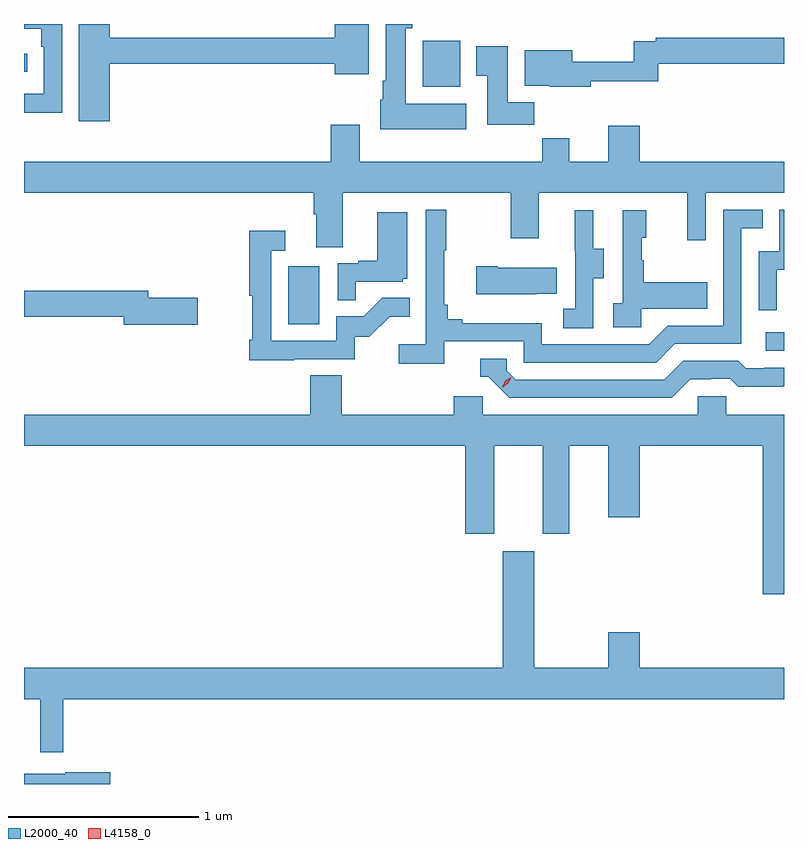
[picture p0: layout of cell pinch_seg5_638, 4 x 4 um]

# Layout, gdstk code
import gdstk
lib = gdstk.Library(unit=1e-6, precision=1e-09)
def R(c, l, rs):  # rectangles x0, y0, x1, y1
    for r in rs: c.add(gdstk.rectangle(r[:2], r[2:], *l))
def P(c, l, *ps):  # polygons
    for p in ps: c.add(gdstk.Polygon(p, *l))
L2000_40 = (2000, 40)
L4158_0 = (4158, 0)

pinch_seg5_638 = lib.new_cell('pinch_seg5_638')
R(pinch_seg5_638, L2000_40, [(1040.961,861.258,1041.056,861.354), (1038.446,861.396,1038.61,861.703), (1039.154,862.646,1039.351,862.888), (1037.056,862.725,1037.074,862.821)])
P(pinch_seg5_638, L2000_40, [(1037.256,862.977),(1037.056,862.977),(1037.056,862.952),(1037.147,862.952),(1037.147,862.856),(1037.16,862.856),(1037.16,862.611),(1037.056,862.611),(1037.056,862.51),(1037.256,862.51)],
  [(1039.384,862.558),(1039.066,862.558),(1039.066,862.955),(1039.099,862.955),(1039.099,862.977),(1038.959,862.977),(1038.959,862.678),(1038.944,862.678),(1038.944,862.578),(1038.932,862.578),(1038.932,862.424),(1039.384,862.424)],
  [(1037.506,862.768),(1038.692,862.768),(1038.692,862.712),(1038.871,862.712),(1038.871,862.977),(1038.692,862.977),(1038.692,862.904),(1037.506,862.904),(1037.506,862.977),(1037.345,862.977),(1037.345,862.464),(1037.506,862.464)],
  [(1040.038,862.675),(1040.393,862.675),(1040.393,862.768),(1041.056,862.768),(1041.056,862.904),(1040.38,862.904),(1040.38,862.885),(1040.265,862.885),(1040.265,862.778),(1039.942,862.778),(1039.942,862.84),(1039.691,862.84),(1039.691,862.652),(1039.824,862.652),(1039.824,862.646),(1040.038,862.646)],
  [(1039.742,862.564),(1039.603,862.564),(1039.603,862.861),(1039.436,862.861),(1039.436,862.705),(1039.493,862.705),(1039.493,862.446),(1039.742,862.446)],
  [(1038.733,862.088),(1039.618,862.088),(1039.618,861.849),(1039.765,861.849),(1039.765,862.088),(1040.546,862.088),(1040.546,861.84),(1040.643,861.84),(1040.643,862.088),(1041.056,862.088),(1041.056,862.252),(1040.296,862.252),(1040.296,862.441),(1040.132,862.441),(1040.132,862.252),(1039.927,862.252),(1039.927,862.376),(1039.783,862.376),(1039.783,862.252),(1038.823,862.252),(1038.823,862.447),(1038.671,862.447),(1038.671,862.252),(1037.056,862.252),(1037.056,862.088),(1038.581,862.088),(1038.581,861.976),(1038.593,861.976),(1038.593,861.802),(1038.733,861.802)],
  [(1039.268,861.306),(1039.686,861.306),(1039.686,861.195),(1040.383,861.195),(1040.482,861.294),(1040.832,861.294),(1040.832,861.903),(1040.945,861.903),(1040.945,861.999),(1040.736,861.999),(1040.736,861.39),(1040.445,861.39),(1040.346,861.291),(1039.782,861.291),(1039.782,861.403),(1039.363,861.403),(1039.363,861.422),(1039.286,861.422),(1039.286,861.499),(1039.267,861.499),(1039.267,861.787),(1039.279,861.787),(1039.279,862),(1039.17,862),(1039.17,861.292),(1039.029,861.292),(1039.029,861.19),(1039.268,861.19)],
  [(1041.018,861.683),(1041.056,861.683),(1041.056,861.999),(1041.03,861.999),(1041.03,861.78),(1040.922,861.78),(1040.922,861.471),(1041.018,861.471)],
  [(1040.304,861.479),(1040.651,861.479),(1040.651,861.619),(1040.317,861.619),(1040.317,861.734),(1040.307,861.734),(1040.307,861.852),(1040.332,861.852),(1040.332,861.997),(1040.208,861.997),(1040.208,861.506),(1040.157,861.506),(1040.157,861.381),(1040.304,861.381)],
  [(1040.052,861.64),(1040.107,861.64),(1040.107,861.795),(1040.053,861.795),(1040.053,861.997),(1039.955,861.997),(1039.955,861.783),(1039.956,861.783),(1039.956,861.479),(1039.893,861.479),(1039.893,861.376),(1040.052,861.376)],
  [(1038.803,861.621),(1039.05,861.621),(1039.05,861.636),(1039.072,861.636),(1039.072,861.985),(1038.914,861.985),(1038.914,861.73),(1038.815,861.73),(1038.815,861.717),(1038.708,861.717),(1038.708,861.523),(1038.803,861.523)],
  [(1038.479,861.213),(1038.798,861.213),(1038.798,861.33),(1038.874,861.33),(1038.981,861.437),(1039.085,861.437),(1039.085,861.536),(1038.941,861.536),(1038.843,861.438),(1038.699,861.438),(1038.699,861.309),(1038.357,861.309),(1038.357,861.783),(1038.43,861.783),(1038.43,861.889),(1038.241,861.889),(1038.241,861.546),(1038.256,861.546),(1038.256,861.316),(1038.241,861.316),(1038.241,861.208),(1038.479,861.208)],
  [(1039.751,861.557),(1039.859,861.557),(1039.859,861.694),(1039.549,861.694),(1039.549,861.702),(1039.437,861.702),(1039.437,861.554),(1039.751,861.554)],
  [(1037.971,861.536),(1037.71,861.536),(1037.71,861.572),(1037.056,861.572),(1037.056,861.436),(1037.582,861.436),(1037.582,861.394),(1037.971,861.394)],
  [(1040.563,861.108),(1040.67,861.108),(1040.67,861.111),(1040.773,861.111),(1040.815,861.069),(1041.048,861.069),(1041.048,861.071),(1041.056,861.071),(1041.056,861.168),(1040.953,861.168),(1040.953,861.165),(1040.854,861.165),(1040.815,861.204),(1040.526,861.204),(1040.427,861.105),(1039.644,861.105),(1039.596,861.153),(1039.596,861.216),(1039.457,861.216),(1039.457,861.12),(1039.5,861.12),(1039.611,861.009),(1040.464,861.009)],
  [(1041.056,860.92),(1040.751,860.92),(1040.751,861.018),(1040.601,861.018),(1040.601,860.92),(1039.47,860.92),(1039.47,861.018),(1039.319,861.018),(1039.319,860.92),(1038.728,860.92),(1038.728,861.128),(1038.563,861.128),(1038.563,860.92),(1037.056,860.92),(1037.056,860.756),(1039.379,860.756),(1039.379,860.295),(1039.531,860.295),(1039.531,860.756),(1039.787,860.756),(1039.787,860.295),(1039.927,860.295),(1039.927,860.756),(1040.132,860.756),(1040.132,860.382),(1040.296,860.382),(1040.296,860.756),(1040.945,860.756),(1040.945,859.977),(1041.056,859.977)],
  [(1037.263,859.424),(1041.056,859.424),(1041.056,859.588),(1040.296,859.588),(1040.296,859.777),(1040.132,859.777),(1040.132,859.588),(1039.741,859.588),(1039.741,860.203),(1039.577,860.203),(1039.577,859.588),(1037.056,859.588),(1037.056,859.424),(1037.141,859.424),(1037.141,859.143),(1037.263,859.143)],
  [(1037.509,859.038),(1037.274,859.038),(1037.274,859.03),(1037.056,859.03),(1037.056,858.977),(1037.509,858.977)])
P(pinch_seg5_638, L4158_0, [(1039.574,861.066),(1039.574,861.066),(1039.59,861.099),(1039.62,861.119),(1039.62,861.119),(1039.62,861.119),(1039.605,861.086),(1039.575,861.066)])

lib.write_gds('pinch_seg5_638.gds')
